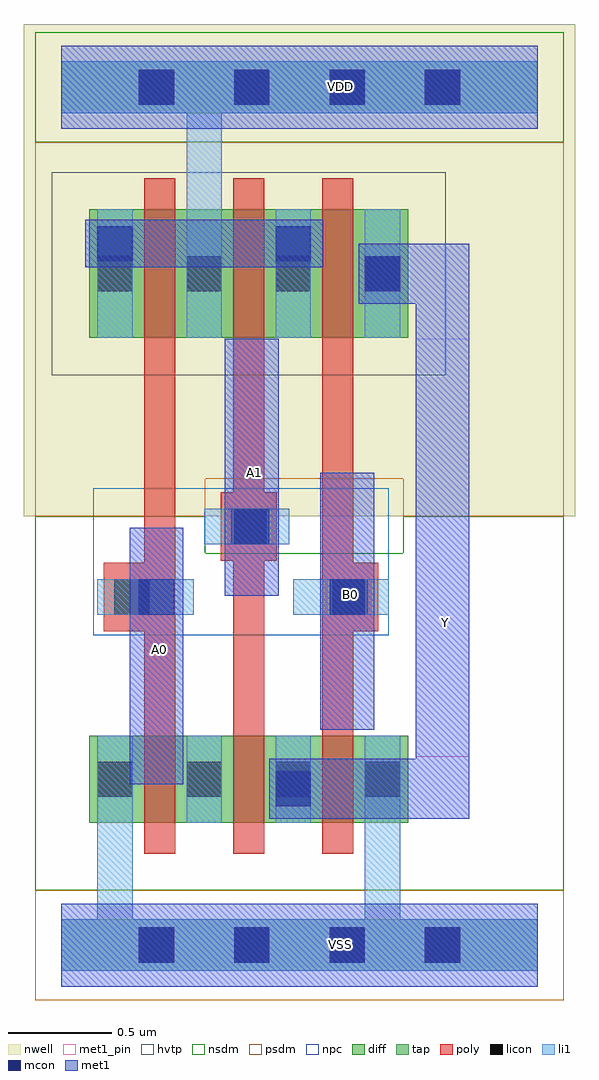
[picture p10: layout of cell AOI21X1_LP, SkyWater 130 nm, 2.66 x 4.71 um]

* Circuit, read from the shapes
.subckt AOI21X1_LP A0 A1 B0 VDD VSS Y
XM1 n1 A0 VSS VSS sky130_fd_pr__nfet_01v8 w=0.42 l=0.15
XM2 Y A1 n1 VSS sky130_fd_pr__nfet_01v8 w=0.42 l=0.15
XM3 VSS B0 Y VSS sky130_fd_pr__nfet_01v8 w=0.42 l=0.15
XM4 VDD A0 n2 VDD sky130_fd_pr__pfet_01v8_hvt w=0.62 l=0.15
XM5 n2 A1 VDD VDD sky130_fd_pr__pfet_01v8_hvt w=0.62 l=0.15
XM6 Y B0 n2 VDD sky130_fd_pr__pfet_01v8_hvt w=0.62 l=0.15
.ends

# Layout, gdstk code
import gdstk
lib = gdstk.Library(unit=1e-6, precision=1e-09)
def R(c, l, rs):  # rectangles x0, y0, x1, y1
    for r in rs: c.add(gdstk.rectangle(r[:2], r[2:], *l))
def A(c, l, x, y, w, h, nx, ny, dx, dy):  # array of equal rectangles
    R(c, l, [(x+i*dx, y+j*dy, x+i*dx+w, y+j*dy+h) for i in range(nx) for j in range(ny)])
def P(c, l, *ps):  # polygons
    for p in ps: c.add(gdstk.Polygon(p, *l))
nwell = (64, 20)
diff = (65, 20)
tap = (65, 44)
poly = (66, 20)
licon = (66, 44)
li1 = (67, 20)
mcon = (67, 44)
met1_pin = (68, 16)
met1 = (68, 20)
hvtp = (78, 44)
nsdm = (93, 44)
psdm = (94, 20)
npc = (95, 20)

l1m1_c_cdns_750721840971 = lib.new_cell('L1M1_C_CDNS_750721840971')
R(l1m1_c_cdns_750721840971, li1, [(-0.085,-0.165,0.085,0.165)])
R(l1m1_c_cdns_750721840971, mcon, [(-0.085,-0.085,0.085,0.085)])
R(l1m1_c_cdns_750721840971, met1, [(-0.115,-0.145,0.115,0.145)])

c_l1m1_c_cdns_750721840971 = lib.new_cell('L1M1_C_CDNS_7507218409710')
R(c_l1m1_c_cdns_750721840971, li1, [(-0.085,-0.165,0.085,0.165)])
R(c_l1m1_c_cdns_750721840971, mcon, [(-0.085,-0.085,0.085,0.085)])
R(c_l1m1_c_cdns_750721840971, met1, [(-0.145,-0.115,0.145,0.115)])

pyl1con_c_cdns_750721840 = lib.new_cell('PYL1CON_C_CDNS_750721840972')
R(pyl1con_c_cdns_750721840, poly, [(-0.135,-0.165,0.135,0.165)])
R(pyl1con_c_cdns_750721840, licon, [(-0.085,-0.085,0.085,0.085)])
R(pyl1con_c_cdns_750721840, npc, [(-0.185,-0.185,0.185,0.185)])

l1m1_c_cdns_750721840973 = lib.new_cell('L1M1_C_CDNS_750721840973')
R(l1m1_c_cdns_750721840973, li1, [(-0.165,-0.085,0.165,0.085)])
R(l1m1_c_cdns_750721840973, mcon, [(-0.085,-0.085,0.085,0.085)])
R(l1m1_c_cdns_750721840973, met1, [(-0.115,-0.145,0.115,0.145)])

aoi21x1_lp = lib.new_cell('AOI21X1_LP')
R(aoi21x1_lp, nwell, [(-0.18,2.07,2.48,4.305), (-0.045,2.75,0.785,3.73), (0.425,2.75,1.385,3.73), (1.025,2.75,1.855,3.73), (-0.18,3.875,2.48,4.445)])
A(aoi21x1_lp, diff, 0.4, 0.59, 0.15, 0.42, 3, 1, 0.43, 0)
A(aoi21x1_lp, diff, 0.4, 2.93, 0.15, 0.62, 3, 1, 0.43, 0)
R(aoi21x1_lp, diff, [(0.135,0.59,0.4,1.01), (0.55,0.59,0.605,1.01), (0.605,0.59,0.83,1.01), (0.98,0.59,1.205,1.01), (1.205,0.59,1.26,1.01), (1.41,0.59,1.675,1.01), (0.135,2.93,0.4,3.55), (0.55,2.93,0.605,3.55), (0.605,2.93,0.83,3.55), (0.98,2.93,1.205,3.55), (1.205,2.93,1.26,3.55), (1.41,2.93,1.675,3.55)])
A(aoi21x1_lp, poly, 0.4, 0.44, 0.15, 0.055, 3, 2, 0.43, 0.665)
A(aoi21x1_lp, poly, 0.4, 0.495, 0.15, 0.095, 3, 2, 0.43, 0.515)
A(aoi21x1_lp, poly, 0.4, 0.59, 0.15, 0.42, 3, 1, 0.43, 0)
A(aoi21x1_lp, poly, 0.4, 2.78, 0.15, 0.055, 3, 2, 0.43, 0.865)
A(aoi21x1_lp, poly, 0.4, 2.835, 0.15, 0.095, 3, 2, 0.43, 0.715)
A(aoi21x1_lp, poly, 0.4, 2.93, 0.15, 0.62, 3, 1, 0.43, 0)
A(aoi21x1_lp, licon, 0.375, -0.085, 0.17, 0.17, 4, 2, 0.46, 4.14)
A(aoi21x1_lp, licon, 0.175, 0.715, 0.17, 0.17, 4, 2, 0.43, 2.44)
A(aoi21x1_lp, li1, 0.175, 2.93, 0.17, 0.62, 4, 1, 0.43, 0)
R(aoi21x1_lp, li1, [(0.175,0.59,0.345,1.01), (1.035,0.59,1.205,1.01), (1.465,0.59,1.635,1.01)])
A(aoi21x1_lp, mcon, 0.375, -0.085, 0.17, 0.17, 4, 2, 0.46, 4.14)
R(aoi21x1_lp, met1_pin, [(0.33,0.775,0.59,2.015), (1.71,0.91,1.97,2.925), (1.25,1.04,1.51,2.28), (0.79,1.685,1.05,2.925)])
R(aoi21x1_lp, hvtp, [(-0.045,2.75,0.785,3.73), (0.425,2.75,1.385,3.73), (1.025,2.75,1.855,3.73)])
A(aoi21x1_lp, nsdm, -0.005, 0.46, 0.62, 0.68, 3, 1, 0.6, 0)
R(aoi21x1_lp, nsdm, [(-0.125,3.875,2.425,4.405), (-0.125,3.93,2.425,4.35)])
P(aoi21x1_lp, nsdm, [(2.425,2.07),(1.65,2.07),(1.65,1.89),(0.695,1.89),(0.695,2.07),(-0.125,2.07),(-0.125,0.265),(2.425,0.265)])
A(aoi21x1_lp, psdm, -0.005, 2.8, 0.62, 0.88, 3, 1, 0.6, 0)
R(aoi21x1_lp, psdm, [(-0.125,-0.265,2.425,0.265), (-0.125,-0.21,2.425,0.21)])
P(aoi21x1_lp, psdm, [(2.425,3.875),(-0.125,3.875),(-0.125,2.07),(0.695,2.07),(0.695,2.25),(1.65,2.25),(1.65,2.07),(2.425,2.07)])
R(aoi21x1_lp, npc, [(0.155,1.495,1.58,2.205)])
aoi21x1_lp.add(gdstk.FlexPath([(1.335,1.16),(1.335,2.78)], 0.15, ends="flush", simple_path=True, layer=66, datatype=20))  # poly
aoi21x1_lp.add(gdstk.FlexPath([(0.905,1.16),(0.905,2.78)], 0.15, ends="flush", simple_path=True, layer=66, datatype=20))  # poly
aoi21x1_lp.add(gdstk.FlexPath([(0.475,1.16),(0.475,2.78)], 0.15, ends="flush", simple_path=True, layer=66, datatype=20))  # poly
aoi21x1_lp.add(gdstk.FlexPath([(1.55,0),(2.3,0)], 0.25, ends=(0.085, 0), simple_path=True, layer=67, datatype=20))  # li1
aoi21x1_lp.add(gdstk.FlexPath([(0.26,0),(1.55,0)], 0.25, ends=(0.085, 0.085), simple_path=True, layer=67, datatype=20))  # li1
aoi21x1_lp.add(gdstk.FlexPath([(0.69,4.14),(2.3,4.14)], 0.25, ends=(0.085, 0), simple_path=True, layer=67, datatype=20))  # li1
aoi21x1_lp.add(gdstk.FlexPath([(0,4.14),(0.69,4.14)], 0.25, ends=(0, 0.085), simple_path=True, layer=67, datatype=20))  # li1
aoi21x1_lp.add(gdstk.FlexPath([(1.55,0.59),(1.55,0)], 0.17, ends=(0, 0.125), simple_path=True, layer=67, datatype=20))  # li1
aoi21x1_lp.add(gdstk.FlexPath([(0.69,3.55),(0.69,4.14)], 0.17, ends=(0, 0.125), simple_path=True, layer=67, datatype=20))  # li1
aoi21x1_lp.add(gdstk.FlexPath([(0.26,0.59),(0.26,0)], 0.17, ends=(0, 0.125), simple_path=True, layer=67, datatype=20))  # li1
aoi21x1_lp.add(gdstk.FlexPath([(0,0),(0.26,0)], 0.25, ends=(0, 0.085), simple_path=True, layer=67, datatype=20))  # li1
aoi21x1_lp.add(gdstk.FlexPath([(0.175,1.68),(0.525,1.68)], 0.17, ends="flush", simple_path=True, layer=67, datatype=20))  # li1
aoi21x1_lp.add(gdstk.FlexPath([(1.12,1.68),(1.58,1.68)], 0.17, ends="flush", simple_path=True, layer=67, datatype=20))  # li1
aoi21x1_lp.add(gdstk.FlexPath([(0.69,2.02),(1.09,2.02)], 0.17, ends="flush", simple_path=True, layer=67, datatype=20))  # li1
aoi21x1_lp.add(gdstk.FlexPath([(1.215,1.68),(1.56,1.68)], 0.17, ends="flush", simple_path=True, layer=67, datatype=20))  # li1
aoi21x1_lp.add(gdstk.FlexPath([(0.295,1.68),(0.64,1.68)], 0.17, ends="flush", simple_path=True, layer=67, datatype=20))  # li1
aoi21x1_lp.add(gdstk.FlexPath([(0.755,2.02),(1.1,2.02)], 0.17, ends="flush", simple_path=True, layer=67, datatype=20))  # li1
aoi21x1_lp.add(gdstk.FlexPath([(0.69,0.59),(0.69,1.01)], 0.17, ends="flush", simple_path=True, layer=67, datatype=20))  # li1
aoi21x1_lp.add(gdstk.FlexPath([(0,4.14),(2.3,4.14)], 0.4, ends="flush", simple_path=True, layer=68, datatype=16))  # met1_pin
aoi21x1_lp.add(gdstk.FlexPath([(0,0),(2.3,0)], 0.4, ends="flush", simple_path=True, layer=68, datatype=16))  # met1_pin
aoi21x1_lp.add(gdstk.FlexPath([(0,4.14),(2.3,4.14)], 0.4, ends="flush", simple_path=True, layer=68, datatype=20))  # met1
aoi21x1_lp.add(gdstk.FlexPath([(1.84,3.24),(1.55,3.24)], 0.29, ends=(0.13, 0), simple_path=True, layer=68, datatype=20))  # met1
aoi21x1_lp.add(gdstk.FlexPath([(0.46,2.015),(0.46,0.775)], 0.26, ends="flush", simple_path=True, layer=68, datatype=20))  # met1
aoi21x1_lp.add(gdstk.FlexPath([(1.84,0.755),(1.12,0.755)], 0.29, ends=(0.13, 0.115), simple_path=True, layer=68, datatype=20))  # met1
aoi21x1_lp.add(gdstk.FlexPath([(1.84,3.24),(1.84,0.755)], 0.26, ends=(0.145, 0.145), simple_path=True, layer=68, datatype=20))  # met1
aoi21x1_lp.add(gdstk.FlexPath([(0,0),(2.3,0)], 0.4, ends="flush", simple_path=True, layer=68, datatype=20))  # met1
aoi21x1_lp.add(gdstk.FlexPath([(0.92,1.685),(0.92,2.925)], 0.26, ends="flush", simple_path=True, layer=68, datatype=20))  # met1
aoi21x1_lp.add(gdstk.FlexPath([(1.38,2.28),(1.38,1.04)], 0.26, ends="flush", simple_path=True, layer=68, datatype=20))  # met1
aoi21x1_lp.add(gdstk.FlexPath([(0.405,3.385),(0.975,3.385)], 0.23, ends="flush", simple_path=True, layer=68, datatype=20))  # met1
aoi21x1_lp.add(gdstk.FlexPath([(0,4.14),(2.3,4.14)], 0.25, ends="flush", simple_path=True, layer=65, datatype=44))  # tap
aoi21x1_lp.add(gdstk.FlexPath([(0,0),(2.3,0)], 0.25, ends="flush", simple_path=True, layer=65, datatype=44))  # tap
aoi21x1_lp.add(gdstk.Reference(l1m1_c_cdns_750721840971, (1.55,3.24)))
aoi21x1_lp.add(gdstk.Reference(l1m1_c_cdns_750721840971, (1.12,0.755)))
aoi21x1_lp.add(gdstk.Reference(c_l1m1_c_cdns_750721840971, (1.12,3.385)))
aoi21x1_lp.add(gdstk.Reference(c_l1m1_c_cdns_750721840971, (0.26,3.385)))
aoi21x1_lp.add(gdstk.Reference(pyl1con_c_cdns_750721840, (0.905,2.02)))
aoi21x1_lp.add(gdstk.Reference(pyl1con_c_cdns_750721840, (0.34,1.68)))
aoi21x1_lp.add(gdstk.Reference(pyl1con_c_cdns_750721840, (1.395,1.68)))
aoi21x1_lp.add(gdstk.Reference(l1m1_c_cdns_750721840973, (0.92,2.02), x_reflection=True))
aoi21x1_lp.add(gdstk.Reference(l1m1_c_cdns_750721840973, (0.46,1.68)))
aoi21x1_lp.add(gdstk.Reference(l1m1_c_cdns_750721840973, (1.38,1.68)))
aoi21x1_lp.add(gdstk.Label('A0', (0.475,1.425), layer=68, texttype=5))
aoi21x1_lp.add(gdstk.Label('A1', (0.935,2.28), layer=68, texttype=5))
aoi21x1_lp.add(gdstk.Label('Y', (1.855,1.555), layer=68, texttype=5))
aoi21x1_lp.add(gdstk.Label('B0', (1.395,1.69), layer=68, texttype=5))
aoi21x1_lp.add(gdstk.Label('VSS', (1.35,0.005), layer=68, texttype=5))
aoi21x1_lp.add(gdstk.Label('VDD', (1.35,4.145), layer=68, texttype=5))

lib.write_gds('AOI21X1_LP.gds')
